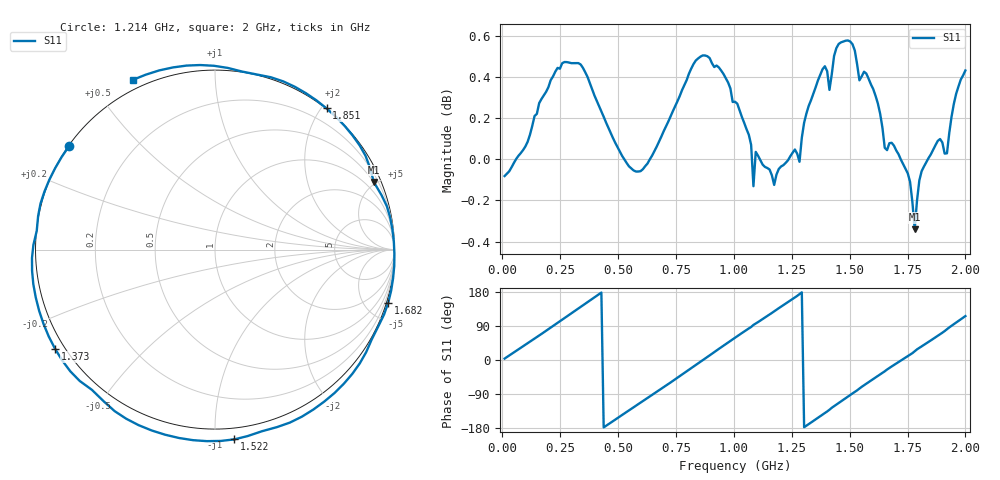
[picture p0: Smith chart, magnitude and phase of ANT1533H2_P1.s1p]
!Created with skrf (http://scikit-rf.org).
# Hz S RI R 50.0
!freq ReS11 ImS11
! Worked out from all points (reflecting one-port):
!   201 points, 10 MHz to 2 GHz, reference 50 ohm
!   lowest |S11| = -0.3 dB at 1.781 GHz (marker M1), VSWR 51.08, Z = 24.3 + j243 ohm
!   phase of S11 starts at 4 deg and turns +832 deg over the sweep
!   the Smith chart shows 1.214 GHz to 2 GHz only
!   S11 on the Smith chart (normalised r, x): 1.214 GHz: 0.00, +0.32; 1.373 GHz: -0.03, -0.28; 1.522 GHz: -0.07, -1.10; 1.682 GHz: -0.21, -6.67; 1.851 GHz: -0.01, +2.06; 2 GHz: -0.03, +0.63
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1e7  0.9886 0.0639
7.965e7  0.8522 0.5298
1.5925e8  0.441 0.933
2.5875e8  -0.2997 1.012
3.284e8  -0.7609 0.7312
3.881e8  -0.9843 0.3348
5.075e8  -0.8625 -0.5147
6.3685e8  -0.1105 -0.9938
7.5625e8  0.7065 -0.7536
8.1595e8  0.9785 -0.3865
8.7565e8  1.058 0.0702
9.3535e8  0.917 0.517
1.005e9  0.5323 0.885
1.1045e9  -0.1749 0.9866
1.21395e9  -0.8146 0.5744
1.25375e9  -0.9497 0.3247
1.31345e9  -1.019 -0.1189
1.37315e9  -0.8911 -0.5523
1.4428e9  -0.4949 -0.9421
1.5025e9  -0.0448 -1.067
1.5224e9  0.1076 -1.057
1.602e9  0.6657 -0.7992
1.6816e9  0.965 -0.2956
1.75125e9  0.9758 0.1792
1.7811e9  0.8848 0.3766
1.85075e9  0.6213 0.7871
1.9403e9  -0.00618 1.024
2e9  -0.4594 0.9453
